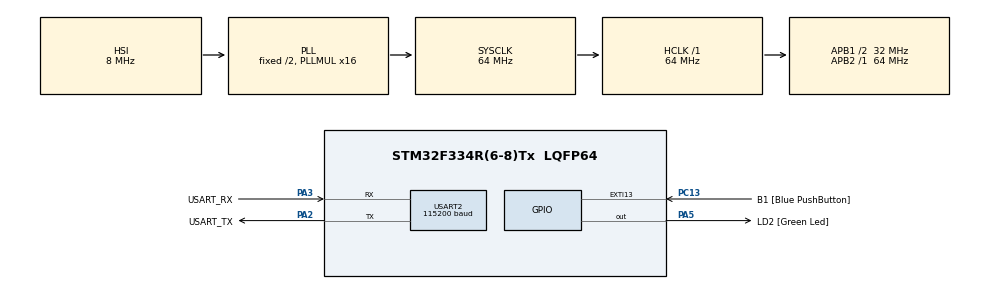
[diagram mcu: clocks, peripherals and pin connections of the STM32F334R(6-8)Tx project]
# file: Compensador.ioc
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Mcu.Family=STM32F3
Mcu.Name=STM32F334R(6-8)Tx
Mcu.Package=LQFP64
NVIC.PriorityGroup=NVIC_PRIORITYGROUP_0
NVIC.USART2_IRQn=true\:0\:0\:false\:false\:true\:true\:true\:true
PA13.GPIO_Label=TMS
PA13.Mode=Serial_Wire
PA13.Signal=SYS_JTMS-SWDIO
PA14.GPIO_Label=TCK
PA14.Mode=Serial_Wire
PA14.Signal=SYS_JTCK-SWCLK
PA2.GPIO_Label=USART_TX
PA2.Mode=Asynchronous
PA2.Signal=USART2_TX
PA3.GPIO_Label=USART_RX
PA3.Mode=Asynchronous
PA3.Signal=USART2_RX
PA5.GPIO_Label=LD2 [Green Led]
PA5.Signal=GPIO_Output
PB3.GPIO_Label=SWO
PB3.Signal=SYS_JTDO-TRACESWO
PC13.GPIO_Label=B1 [Blue PushButton]
PC13.GPIO_ModeDefaultEXTI=GPIO_MODE_IT_FALLING
PC13.Signal=GPXTI13
PC14\ /\ OSC32_IN.Mode=LSE-External-Oscillator
PC14\ /\ OSC32_IN.Signal=RCC_OSC32_IN
PC15\ /\ OSC32_OUT.GPIO_Label=RCC_OSC32_OUT
PC15\ /\ OSC32_OUT.Mode=LSE-External-Oscillator
PC15\ /\ OSC32_OUT.Signal=RCC_OSC32_OUT
PF0\ /\ OSC_IN.Mode=HSE-External-Clock-Source
PF0\ /\ OSC_IN.Signal=RCC_OSC_IN
PF1\ /\ OSC_OUT.Signal=RCC_OSC_OUT
ProjectManager.HeapSize=0x200
ProjectManager.StackSize=0x400
ProjectManager.TargetToolchain=STM32CubeIDE
RCC.AHBFreq_Value=64000000
RCC.APB1CLKDivider=RCC_HCLK_DIV2
RCC.APB1Freq_Value=32000000
RCC.APB1TimFreq_Value=64000000
RCC.APB2Freq_Value=64000000
RCC.APB2TimFreq_Value=64000000
RCC.CortexFreq_Value=64000000
RCC.FLatency-AdvancedSettings=FLASH_LATENCY_2
RCC.HCLKFreq_Value=64000000
RCC.HSE_VALUE=8000000
RCC.HSI_VALUE=8000000
RCC.PLLMUL=RCC_PLL_MUL16
RCC.SYSCLKFreq_VALUE=64000000
RCC.SYSCLKSourceVirtual=RCC_SYSCLKSOURCE_PLLCLK
USART2.BaudRate=115200
USART2.VirtualMode-Asynchronous=VM_ASYNC
board=NUCLEO-F334R8

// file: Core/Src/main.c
/* USER CODE BEGIN Header */
/**
  ******************************************************************************
  * @file           : main.c
  * @brief          : Main program body
  ******************************************************************************
  * @attention
  *
  * Copyright (c) 2023 STMicroelectronics.
  * All rights reserved.
  *
  * This software is licensed under terms that can be found in the LICENSE file
  * in the root directory of this software component.
  * If no LICENSE file comes with this software, it is provided AS-IS.
  *
  ******************************************************************************
  */
/* USER CODE END Header */
#include "main.h"

UART_HandleTypeDef huart2;

/* USER CODE BEGIN PV */
typedef union
{
  float rxInput;
  char  rxInputChar[sizeof(float)];
} unionRx_t; //Fin de union
unionRx_t rxDataUnion;

float Y; //salida
/* USER CODE END PV */

void SystemClock_Config(void);
static void MX_GPIO_Init(void);
static void MX_USART2_UART_Init(void);
/* USER CODE BEGIN PFP */

void filtro(float);

/* USER CODE END PFP */

int main(void)
{

  /* MCU Configuration--------------------------------------------------------*/

  /* Reset of all peripherals, Initializes the Flash interface and the Systick. */
  HAL_Init();

  /* Configure the system clock */
  SystemClock_Config();

  /* Initialize all configured peripherals */
  MX_GPIO_Init();
  MX_USART2_UART_Init();
  /* USER CODE BEGIN 2 */
  HAL_UART_Receive_IT(&huart2, (uint8_t*)&rxDataUnion,sizeof(rxDataUnion));
  /* USER CODE END 2 */

  /* Infinite loop */
  while (1)
  {

  }
}

void SystemClock_Config(void)
{
  RCC_OscInitTypeDef RCC_OscInitStruct = {0};
  RCC_ClkInitTypeDef RCC_ClkInitStruct = {0};

  /** Initializes the RCC Oscillators according to the specified parameters
  * in the RCC_OscInitTypeDef structure.
  */
  RCC_OscInitStruct.OscillatorType = RCC_OSCILLATORTYPE_HSI;
  RCC_OscInitStruct.HSIState = RCC_HSI_ON;
  RCC_OscInitStruct.HSICalibrationValue = RCC_HSICALIBRATION_DEFAULT;
  RCC_OscInitStruct.PLL.PLLState = RCC_PLL_ON;
  RCC_OscInitStruct.PLL.PLLSource = RCC_PLLSOURCE_HSI;
  RCC_OscInitStruct.PLL.PLLMUL = RCC_PLL_MUL16;
  if (HAL_RCC_OscConfig(&RCC_OscInitStruct) != HAL_OK)
  {
    Error_Handler();
  }

  /** Initializes the CPU, AHB and APB buses clocks
  */
  RCC_ClkInitStruct.ClockType = RCC_CLOCKTYPE_HCLK|RCC_CLOCKTYPE_SYSCLK
                              |RCC_CLOCKTYPE_PCLK1|RCC_CLOCKTYPE_PCLK2;
  RCC_ClkInitStruct.SYSCLKSource = RCC_SYSCLKSOURCE_PLLCLK;
  RCC_ClkInitStruct.AHBCLKDivider = RCC_SYSCLK_DIV1;
  RCC_ClkInitStruct.APB1CLKDivider = RCC_HCLK_DIV2;
  RCC_ClkInitStruct.APB2CLKDivider = RCC_HCLK_DIV1;

  if (HAL_RCC_ClockConfig(&RCC_ClkInitStruct, FLASH_LATENCY_2) != HAL_OK)
  {
    Error_Handler();
  }
}

static void MX_USART2_UART_Init(void)
{

  huart2.Instance = USART2;
  huart2.Init.BaudRate = 115200;
  huart2.Init.WordLength = UART_WORDLENGTH_8B;
  huart2.Init.StopBits = UART_STOPBITS_1;
  huart2.Init.Parity = UART_PARITY_NONE;
  huart2.Init.Mode = UART_MODE_TX_RX;
  huart2.Init.HwFlowCtl = UART_HWCONTROL_NONE;
  huart2.Init.OverSampling = UART_OVERSAMPLING_16;
  huart2.Init.OneBitSampling = UART_ONE_BIT_SAMPLE_DISABLE;
  huart2.AdvancedInit.AdvFeatureInit = UART_ADVFEATURE_NO_INIT;
  if (HAL_UART_Init(&huart2) != HAL_OK)
  {
    Error_Handler();
  }

}

static void MX_GPIO_Init(void)
{
  GPIO_InitTypeDef GPIO_InitStruct = {0};

  /* GPIO Ports Clock Enable */
  __HAL_RCC_GPIOC_CLK_ENABLE();
  __HAL_RCC_GPIOF_CLK_ENABLE();
  __HAL_RCC_GPIOA_CLK_ENABLE();
  __HAL_RCC_GPIOB_CLK_ENABLE();

  /*Configure GPIO pin Output Level */
  HAL_GPIO_WritePin(LD2_GPIO_Port, LD2_Pin, GPIO_PIN_RESET);

  /*Configure GPIO pin : B1_Pin */
  GPIO_InitStruct.Pin = B1_Pin;
  GPIO_InitStruct.Mode = GPIO_MODE_IT_FALLING;
  GPIO_InitStruct.Pull = GPIO_NOPULL;
  HAL_GPIO_Init(B1_GPIO_Port, &GPIO_InitStruct);

  /*Configure GPIO pin : LD2_Pin */
  GPIO_InitStruct.Pin = LD2_Pin;
  GPIO_InitStruct.Mode = GPIO_MODE_OUTPUT_PP;
  GPIO_InitStruct.Pull = GPIO_NOPULL;
  GPIO_InitStruct.Speed = GPIO_SPEED_FREQ_LOW;
  HAL_GPIO_Init(LD2_GPIO_Port, &GPIO_InitStruct);

}

/* USER CODE BEGIN 4 */
void filtro(float x)
{
	float H;
	static float ht1 = 0; // Variable con el valor anterior de H

	// Coeficientes del compensador
	const float A = 0.9977;
	const float B = 405.4;
	const float C = 406.2;

	H = x + A * ht1;

    Y = C * H - B * ht1;	// Cálculo del valor de salida

    ht1 = H;				// Se guarda H en memoria
}

void HAL_UART_RxCpltCallback(UART_HandleTypeDef *huart)
{
    if (huart->Instance == USART2)
    {
        filtro(rxDataUnion.rxInput);							// Función que calcula el valor siguiente del compensador

        HAL_UART_Transmit_IT(&huart2, (uint8_t*)&Y, sizeof(Y));	// Se envía el resultado del filtro por UART
		HAL_UART_Receive_IT(&huart2, (uint8_t*)&rxDataUnion,sizeof(rxDataUnion));	// Recibimos los datos enviados por simulink
    }
}
/* USER CODE END 4 */

void Error_Handler(void)
{
  __disable_irq();
  while (1)
  {
  }
}
